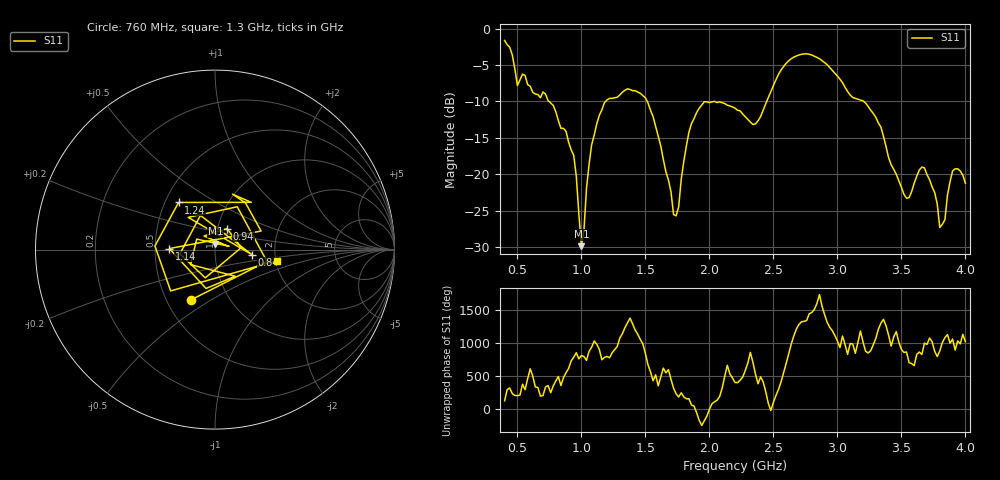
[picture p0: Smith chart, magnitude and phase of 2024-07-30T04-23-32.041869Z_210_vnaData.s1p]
!Created with skrf (http://scikit-rf.org).
# Hz S RI R 50.0
!freq ReS11 ImS11
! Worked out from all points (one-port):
!   181 points, 400 MHz to 4 GHz, reference 50 ohm
!   lowest |S11| = -29.8 dB at 1 GHz (marker M1), VSWR 1.07, Z = 50.1 + j3.22 ohm
!   |S11| at or under -10 dB: 746.8 MHz to 1.188 GHz (441.7 MHz wide, 45.7 % of centre); 1.514 GHz to 2.037 GHz (523.1 MHz wide, 29.5 % of centre); 3.206 GHz to end of sweep (the widest 3 of 4)
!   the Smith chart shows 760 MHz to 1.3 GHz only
!   S11 on the Smith chart (normalised r, x): 760 MHz: 0.67, -0.41; 840 MHz: 1.51, -0.09; 940 MHz: 1.11, +0.27; 1.14 GHz: 0.59, +0.01; 1.24 GHz: 0.59, +0.35; 1.3 GHz: 2.03, -0.28
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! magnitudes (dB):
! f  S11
! 400 MHz  -1.6
! 500 MHz  -7.8
! 760 MHz  -10.2
! 840 MHz  -13.7
! 860 MHz  -13.7
! 940 MHz  -17.4
! 1 GHz  -29.8
! 1.08 GHz  -15.9
! 1.14 GHz  -11.9
! 1.24 GHz  -9.6
! 1.3 GHz  -9.1
! 1.5 GHz  -9.5
! 1.62 GHz  -16.1
! 1.72 GHz  -25.5
! 1.76 GHz  -24.4
! 1.84 GHz  -14.2
! 1.9 GHz  -11.5
! 2.2 GHz  -10.9
! 2.36 GHz  -13.1
! 2.66 GHz  -3.9
! 2.86 GHz  -4.1
! 3.1 GHz  -9.1
! 3.3 GHz  -12.2
! 3.56 GHz  -23.2
! 3.68 GHz  -19.1
! 3.8 GHz  -27.3
! 3.9 GHz  -19.5
! 4 GHz  -21.2
